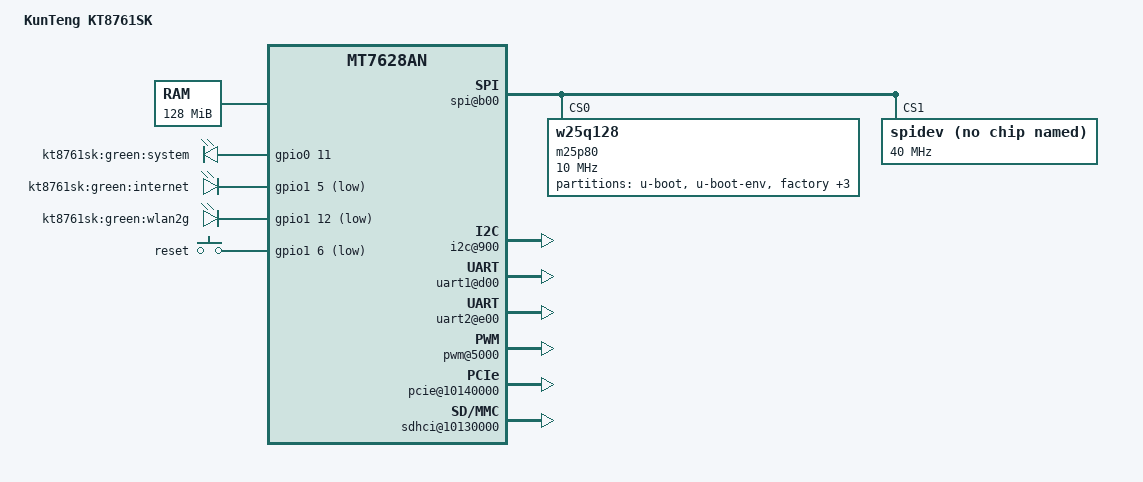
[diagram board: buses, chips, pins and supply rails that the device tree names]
/dts-v1/;

/include/ "mt7628an.dtsi"

/ {
	compatible = "KT8761SK", "mediatek,mt7628an-soc";
	model = "KunTeng KT8761SK";

	chosen {
		bootargs = "console=ttyS0,57600";
	};

	memory@0 {
		device_type = "memory";
		reg = <0x0 0x8000000>;
	};

	pinctrl {
		state_default: pinctrl0 {
			gpio {
				ralink,group = "gpio";
				ralink,function = "gpio";
			};
			perst {
				ralink,group = "perst";
				ralink,function = "gpio";
			};
			refclk {
				ralink,group = "refclk";
				ralink,function = "gpio";
			};
			i2s {
				ralink,group = "i2s";
				ralink,function = "gpio";
			};
			spis {
				ralink,group = "spis";
				ralink,function = "gpio";
			};
			wled_kn {
				ralink,group = "wled_kn";
				ralink,function = "gpio";
			};
			wled_an {
				ralink,group = "wled_an";
				ralink,function = "wled_an";
			};
			wdt {
				ralink,group = "wdt";
				ralink,function = "gpio";
			};
		};
	};

	palmbus@10000000 {
		spi@b00 {
			status = "okay";

			pinctrl-names = "default";
			pinctrl-0 = <&spi_pins>, <&spi_cs1_pins>;

			m25p80@0 {
				#address-cells = <1>;
				#size-cells = <1>;
				compatible = "w25q128";
				reg = <0 0>;
				linux,modalias = "m25p80", "w25q128";
				spi-max-frequency = <10000000>;
				m25p,chunked-io = <31>;

				partition@0 {
					label = "u-boot";
					reg = <0x0 0x30000>;
					read-only;
				};

				partition@30000 {
					label = "u-boot-env";
					reg = <0x30000 0x10000>;
				};

				factory: partition@40000 {
					label = "factory";
					reg = <0x40000 0x10000>;
				//	read-only;
				};

				partition@50000 {
					label = "firmware";
					reg = <0x50000 0xf60000>;
				};
				
				partition@fb0000 {
					label = "modules";
					reg = <0xfb0000 0x40000>;
				};

				bdinfo: partition@ff0000 {
					label = "bdinfo";
					reg = <0xff0000 0x10000>;
				};

			};

			spidev@1 {
				#address-cells = <1>;
				#size-cells = <1>;
				compatible = "spidev";
				reg = <1 0>;
				spi-max-frequency = <40000000>;
			};
		};

		i2c@900 {
			status = "okay";
		};

		uart1@d00 {
			status = "okay";
		};

		uart2@e00 {
			status = "okay";
		};

		pwm@5000 {
			status = "okay";
		};
	};

	ethernet@10100000 {
		mtd-mac-address = <&factory 0x4>;
		ralink,port-map = "llllw";
	};

	pcie@10140000 {
		status = "okay";
	};

	sdhci@10130000 {
		status = "okay";
//		mediatek,cd-high;
//		mediatek,cd-poll;
	};

	gpio-leds {
		compatible = "gpio-leds";

		system {
			label = "kt8761sk:green:system";
			gpios = <&gpio0 11 0>;
		};
		
		internet {
			label = "kt8761sk:green:internet";
			gpios = <&gpio1 5 1>;
		};
		
		wlan2g {
			label = "kt8761sk:green:wlan2g";
			gpios = <&gpio1 12 1>;
		};
	};

	gpio-keys-polled {
		compatible = "gpio-keys-polled";
		#address-cells = <1>;
		#size-cells = <0>;
		poll-interval = <20>;
	
		reset {
			label = "reset";
			gpios = <&gpio1 6 1>;
			linux,code = <0x198>;
		};
	};
};
